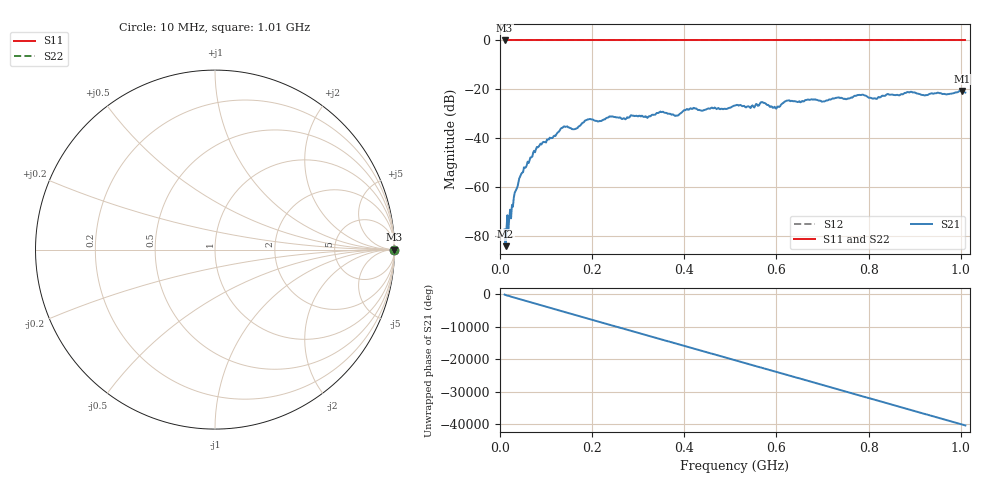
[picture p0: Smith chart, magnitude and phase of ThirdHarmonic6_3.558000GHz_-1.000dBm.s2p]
! 8/17/2025 11:45:43 AM
! C:\ANRITSUVNA\TEMP\TEMP.S2P
! CHANNEL.1
! TR.MEASUREMENT
! RAW.DATA
! RF.CORRECTION.OFF
! AVERAGING.OFF
! IF.BANDWIDTH: 5KHZ
! SWEEPTYPE:  FREQ.SWEEP(Linear)
! Reference Plane Port Info
! PORT:  PORT1  PORT2
! DISTANCE:  0  m  0  m
! TIME:  0  s  0  s
! PHASE.OFFSET:  0  deg.  0  deg.
! LOSS:  0  dB  0  dB
! REF.LOSS:  0  dB  0  dB
! REF.FREQ:  0  Hz  0  Hz
! Power Info
! POWER:  -20  dBm  -20  dBm
! EFF.POWER:  -20  dBm  -20  dBm
! SOURCE.ATTEN:  0  dB  0  dB
! TEST.ATTEN:  0  dB  0  dB
# GHZ S RI R 50.0
! FREQ.GHZ  S11RE  S11IM  S21RE  S21IM  S12RE  S12IM  S22RE  S22IM
!; PortSelection: Port_12
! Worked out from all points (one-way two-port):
!   501 points, 10 MHz to 1.01 GHz, reference 50 ohm
!   highest |S21| = -20.60 dB at 1.002 GHz (marker M1); lowest = -84.0 dB at 12 MHz (marker M2)
!   lowest |S11| = 0.0 dB at 10 MHz (marker M3)
!   |S11| at or under -10 dB: nowhere
!   |S22| runs from 0.0 to 0.0 dB; largest |S21 - S12| = 1.1
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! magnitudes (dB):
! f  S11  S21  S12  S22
! 10 MHz  0.0  -77.2  0.0  0.0
! 12 MHz  0.0  -84.0  0.0  0.0
! 22 MHz  0.0  -69.1  0.0  0.0
! 34 MHz  0.0  -61.4  0.0  0.0
! 44 MHz  0.0  -55.5  0.0  0.0
! 76 MHz  0.0  -45.7  0.0  0.0
! 136 MHz  0.0  -35.6  0.0  0.0
! 162 MHz  0.0  -36.2  0.0  0.0
! 178 MHz  0.0  -33.8  0.0  0.0
! 192 MHz  0.0  -32.2  0.0  0.0
! 322 MHz  0.0  -31.2  0.0  0.0
! 344 MHz  0.0  -29.6  0.0  0.0
! 384 MHz  0.0  -30.7  0.0  0.0
! 416 MHz  0.0  -28.0  0.0  0.0
! 510 MHz  0.0  -26.6  0.0  0.0
! 570 MHz  0.0  -25.2  0.0  0.0
! 596 MHz  0.0  -27.1  0.0  0.0
! 624 MHz  0.0  -24.5  0.0  0.0
! 678 MHz  0.0  -24.1  0.0  0.0
! 844 MHz  0.0  -22.1  0.0  0.0
! 1.002 GHz  0.0  -20.6  0.0  0.0
! 1.01 GHz  0.0  -21.3  0.0  0.0
